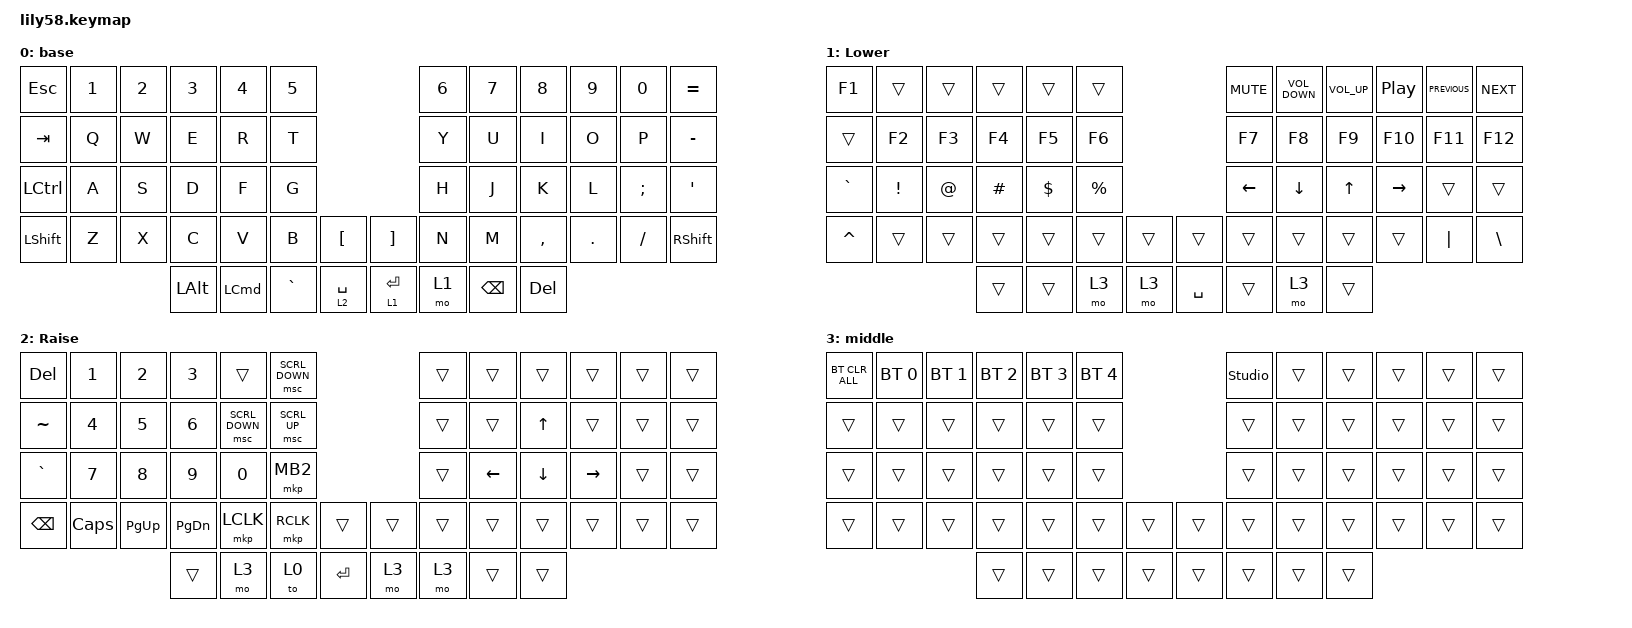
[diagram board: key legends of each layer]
/*
 * Copyright (c) 2020 The ZMK Contributors
 *
 * SPDX-License-Identifier: MIT
 */

#include <dt-bindings/zmk/mouse.h>
#include <behaviors.dtsi>
#include <dt-bindings/zmk/bt.h>
#include <dt-bindings/zmk/keys.h>
#include <dt-bindings/zmk/pointing.h>

/ {
    keymap {
        compatible = "zmk,keymap";

        default_layer {
            // ------------------------------------------------------------------------------------------------------------
            // |  ESC  |  1  |  2  |  3   |  4   |  5   |                   |  6   |  7    |  8    |  9   |   0   |   `   |
            // |  TAB  |  Q  |  W  |  E   |  R   |  T   |                   |  Y   |  U    |  I    |  O   |   P   |   -   |
            // |  CTRL |  A  |  S  |  D   |  F   |  G   |                   |  H   |  J    |  K    |  L   |   ;   |   '   |
            // | SHIFT |  Z  |  X  |  C   |  V   |  B   |   "["  |  |  "]"  |  N   |  M    |  ,    |  .   |   /   | SHIFT |
            //                     | ALT  | GUI  | LOWER|  SPACE |  | ENTER | RAISE| BSPC  | GUI   |

            label = "base";
            bindings = <
&kp ESC           &kp N1  &kp N2  &kp N3        &kp N4            &kp N5                                 &kp N6  &kp N7    &kp N8      &kp N9   &kp N0    &kp EQUAL
&kp TAB           &kp Q   &kp W   &kp E         &kp R             &kp T                                  &kp Y   &kp U     &kp I       &kp O    &kp P     &kp MINUS
&kp LEFT_CONTROL  &kp A   &kp S   &kp D         &kp F             &kp G                                  &kp H   &kp J     &kp K       &kp L    &kp SEMI  &kp SQT
&kp LEFT_SHIFT    &kp Z   &kp X   &kp C         &kp V             &kp B      &kp LBKT       &kp RBKT     &kp N   &kp M     &kp COMMA   &kp DOT  &kp FSLH  &kp RIGHT_SHIFT
                                  &kp LEFT_ALT  &kp LEFT_COMMAND  &kp GRAVE  &lt 2 SPACE    &lt 1 ENTER  &mo 1   &kp BSPC  &kp DELETE
            >;
        };

        Right {
            // ------------------------------------------------------------------------------------------------------------
            // | BTCLR | BT1 | BT2 |  BT3 |  BT4 |  BT5 |                   |      |       |       |      |       |       |
            // |  F1   |  F2 |  F3 |  F4  |  F5  |  F6  |                   |  F7  |  F8   |  F9   |  F10 |  F11  |  F12  |
            // |   `   |  !  |  @  |  #   |  $   |  %   |                   |  ^   |  &    |  *    |  (   |   )   |   ~   |
            // |       |     |     |      |      |      |        |  |       |      |  _    |  +    |  {   |   }   |  "|"  |
            //                     |      |      |      |        |  |       |      |       |       |

            label = "Lower";
            bindings = <
&kp F1     &trans    &trans  &trans    &trans      &trans                          &kp K_MUTE  &kp C_VOLUME_DOWN  &kp C_VOL_UP  &kp C_PLAY_PAUSE  &kp C_PREVIOUS  &kp C_NEXT
&trans     &kp F2    &kp F3  &kp F4    &kp F5      &kp F6                          &kp F7      &kp F8             &kp F9        &kp F10           &kp F11         &kp F12
&kp GRAVE  &kp EXCL  &kp AT  &kp HASH  &kp DOLLAR  &kp PRCNT                       &kp LEFT    &kp DOWN           &kp UP        &kp RIGHT         &trans          &trans
&kp CARET  &trans    &trans  &trans    &trans      &trans     &trans    &trans     &trans      &trans             &trans        &trans            &kp PIPE        &kp BACKSLASH
                             &trans    &trans      &mo 3      &mo 3     &kp SPACE  &trans      &mo 3              &trans
            >;
        };

        Left {
            // ------------------------------------------------------------------------------------------------------------
            // |       |     |     |      |      |      |                   |      |       |       |      |       |       |
            // |   `   |  1  |  2  |  3   |  4   |  5   |                   |  6   |   7   |   8   |  9   |   0   |       |
            // |   F1  |  F2 |  F3 |  F4  |  F5  |  F6  |                   |      |   <-  |   v   |  ^   |  ->   |       |
            // |   F7  |  F8 |  F9 |  F10 |  F11 |  F12 |        |  |       |  +   |   -   |   =   |  [   |   ]   |   \   |
            //                     |      |      |      |        |  |       |      |       |       |

            label = "Raise";
            bindings = <
&kp DEL        &kp NUMBER_1  &kp NUMBER_2  &kp NUMBER_3  &trans          &msc SCRL_DOWN                       &trans  &trans    &trans    &trans     &trans  &trans
&kp TILDE      &kp NUMBER_4  &kp N5        &kp NUMBER_6  &msc SCRL_DOWN  &msc SCRL_UP                         &trans  &trans    &kp UP    &trans     &trans  &trans
&kp GRAVE      &kp N7        &kp N8        &kp N9        &kp N0          &mkp MB2                             &trans  &kp LEFT  &kp DOWN  &kp RIGHT  &trans  &trans
&kp BACKSPACE  &kp CAPS      &kp PAGE_UP   &kp PG_DN     &mkp LCLK       &mkp RCLK       &trans       &trans  &trans  &trans    &trans    &trans     &trans  &trans
                                           &trans        &mo 3           &to 0           &kp ENTER    &mo 3   &mo 3   &trans    &trans
            >;
        };

        middle {
            bindings = <
&bt BT_CLR_ALL  &bt BT_SEL 0  &bt BT_SEL 1  &bt BT_SEL 2  &bt BT_SEL 3  &bt BT_SEL 4                    &studio_unlock  &trans  &trans  &trans  &trans  &trans
&trans          &trans        &trans        &trans        &trans        &trans                          &trans          &trans  &trans  &trans  &trans  &trans
&trans          &trans        &trans        &trans        &trans        &trans                          &trans          &trans  &trans  &trans  &trans  &trans
&trans          &trans        &trans        &trans        &trans        &trans        &trans    &trans  &trans          &trans  &trans  &trans  &trans  &trans
                                            &trans        &trans        &trans        &trans    &trans  &trans          &trans  &trans
            >;
        };
    };
};
